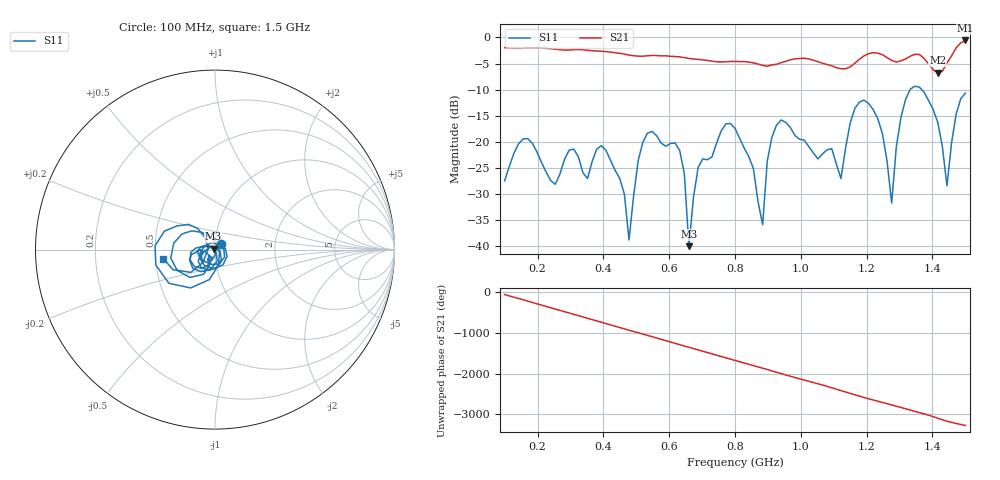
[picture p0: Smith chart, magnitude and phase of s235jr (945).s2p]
! NanoVNA-App
! Date: 2025-09-25 15:11:31
! Start: 100MHz Stop: 1,5GHz Points: 101
! S-Parameter data: F S11 S21 S12 S22
# Hz S RI R 50
!  Frequency  S11_Real  S11_Imag  S21_Real  S21_Imag  S12_Real  S12_Imag  S22_Real  S22_Imag
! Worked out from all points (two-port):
!   101 points, 100 MHz to 1.5 GHz, reference 50 ohm
!   highest |S21| = -0.58 dB at 1.5 GHz (marker M1); lowest = -6.8 dB at 1.416 GHz (marker M2)
!   |S21| within 3 dB of the highest: start of sweep to 505.5 MHz; 522.3 MHz to 599 MHz (76.73 MHz wide, 13.7 % of centre) (the widest 2 of 5)
!   lowest |S11| = -40.0 dB at 660 MHz (marker M3), VSWR 1.02, Z = 49.2 + j0.564 ohm
!   |S11| at or under -10 dB: start of sweep to 1.332 GHz; 1.367 GHz to end of sweep
!   S12 and S22 are empty: the file has one direction only
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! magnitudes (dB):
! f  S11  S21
! 100 MHz  -27.5  -2.0
! 156 MHz  -19.4  -2.1
! 338 MHz  -25.9  -2.4
! 408 MHz  -21.6  -2.7
! 478 MHz  -38.8  -3.4
! 520 MHz  -20.1  -3.6
! 576 MHz  -20.3  -3.5
! 632 MHz  -21.7  -3.7
! 660 MHz  -40.0  -4.0
! 688 MHz  -24.9  -4.2
! 800 MHz  -17.4  -4.6
! 884 MHz  -35.9  -5.4
! 926 MHz  -16.8  -5.2
! 1.038 GHz  -22.1  -4.4
! 1.122 GHz  -27.0  -6.0
! 1.192 GHz  -12.0  -3.5
! 1.248 GHz  -18.4  -3.3
! 1.276 GHz  -31.7  -4.4
! 1.332 GHz  -10.0  -3.6
! 1.416 GHz  -16.2  -6.8
! 1.444 GHz  -28.4  -4.9
! 1.5 GHz  -10.7  -0.6
